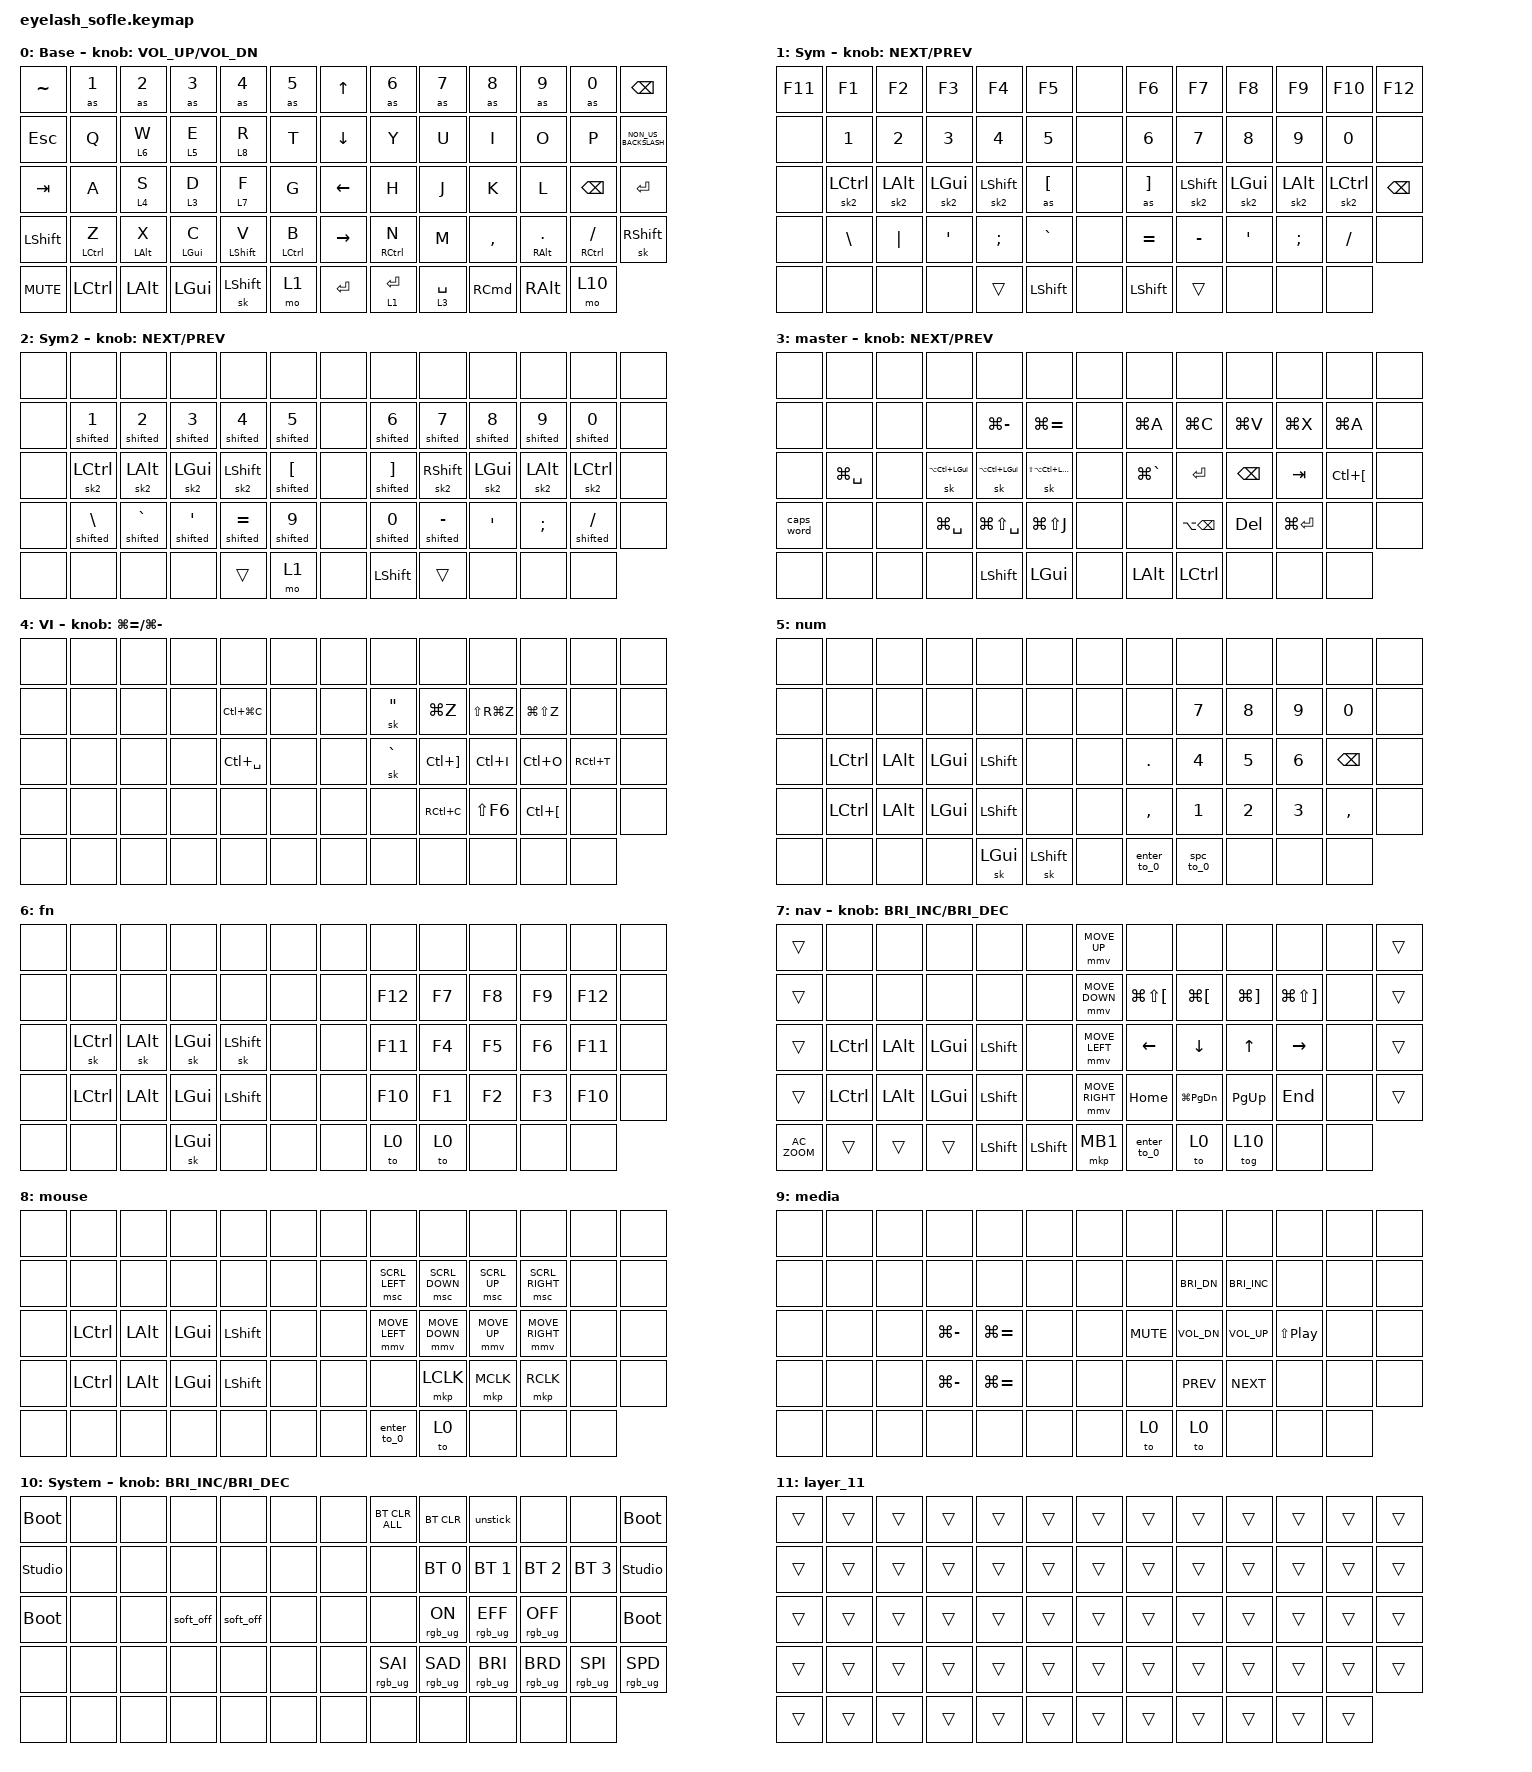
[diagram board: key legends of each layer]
#define ZMK_POINTING_DEFAULT_MOVE_VAL 800 // 600
#define ZMK_POINTING_DEFAULT_SCRL_VAL 25   // 10

#include <input/processors.dtsi>
#include <zephyr/dt-bindings/input/input-event-codes.h>
#include <dt-bindings/zmk/mouse.h>
#include <behaviors.dtsi>
#include <dt-bindings/zmk/bt.h>
#include <dt-bindings/zmk/keys.h>
#include <dt-bindings/zmk/pointing.h>
#include <dt-bindings/zmk/rgb.h>

&mmv_input_listener { input-processors = <&zip_xy_scaler 2 1>; };

&msc_input_listener { input-processors = <&zip_scroll_scaler 2 1>; };

&msc {
    acceleration-exponent = <1>;      // 0
    time-to-max-speed-ms = <70>;       // 300
    delay-ms = <0>;                   // 0
};

&mmv {
    time-to-max-speed-ms = <500>;
    acceleration-exponent = <1>;
    trigger-period-ms = <16>;
};

&soft_off { hold-time-ms = <2000>; };

&sk {
    /delete-property/ ignore-modifiers;

    quick-release;
    lazy;
};

/ {
    scroll_encoder: scroll_encoder {
        compatible = "zmk,behavior-sensor-rotate";
        #sensor-binding-cells = <0>;
        bindings = <&msc SCRL_DOWN>, <&msc SCRL_UP>;

        tap-ms = <100>;
    };

    behaviors {
    };

    combos {
        compatible = "zmk,combos";

        esc {
            bindings = <&as ESCAPE>;
            key-positions = <34 35>;
            require-prior-idle-ms = <150>;
            layers = <0 4 5 8>;
        };

        enter {
            bindings = <&kp ENTER>;
            key-positions = <21 22>;
            timeout-ms = <50>;
            require-prior-idle-ms = <280>;
        };

        tab {
            bindings = <&kp TAB>;
            key-positions = <33 34>;
            timeout-ms = <50>;
            require-prior-idle-ms = <150>;
        };

        reset_0 {
            bindings = <&to 0>;
            key-positions = <14 15 16 17>;
        };

        fn-tog {
            bindings = <&tog 6>;
            key-positions = <16 17 15>;
            require-prior-idle-ms = <280>;
            timeout-ms = <50>;
            layers = <0 6>;
        };

        fn {
            bindings = <&mo 6>;
            key-positions = <16 15>;
            require-prior-idle-ms = <280>;
            timeout-ms = <50>;
        };

        mouse {
            bindings = <&mo 8>;
            key-positions = <42 41>;
            timeout-ms = <50>;
            require-prior-idle-ms = <280>;
            layers = <0>;
        };

        mouse_tog {
            bindings = <&tog 8>;
            key-positions = <18 16 17>;
            timeout-ms = <50>;
            require-prior-idle-ms = <280>;
            layers = <0 8>;
        };

        media {
            bindings = <&mo 9>;
            key-positions = <44 43>;
            timeout-ms = <50>;
            require-prior-idle-ms = <280>;
            layers = <0>;
        };

        nav_tog {
            bindings = <&tog 7>;
            key-positions = <30 31 29>;
            timeout-ms = <50>;
            require-prior-idle-ms = <280>;
            layers = <0 7>;
        };

        num_tog {
            bindings = <&tog 5>;
            key-positions = <44 43 42>;
        };

        ctrlspace {
            bindings = <&kp LC(SPACE)>;
            key-positions = <23 22>;
            require-prior-idle-ms = <350>;
            layers = <0>;
            timeout-ms = <40>;
        };

        brack {
            bindings = <&kp LEFT_BRACKET>;
            key-positions = <33 21>;
        };

        brack2 {
            bindings = <&kp RIGHT_BRACKET>;
            key-positions = <34 22>;
        };
    };

    hml: homerow_mods_left {
        compatible = "zmk,behavior-hold-tap";
        label = "HOMEROW_MODS_LEFT_HAND";
        bindings = <&kp>, <&kp>;

        #binding-cells = <2>;
        hold-trigger-key-positions = <7 8 9 10 11 12 20 21 22 23 24 25 33 34 35 36 37 38 46 47 48 49 50 51 60 61 62 63 59>;
        tapping-term-ms = <350>;
        flavor = "balanced";
        hold-trigger-on-release;
        require-prior-idle-ms = <120>;
    };

    hmr: homerow_mods_right {
        compatible = "zmk,behavior-hold-tap";
        label = "HOMEROW_MODS_RIGHT_HAND";
        bindings = <&kp>, <&kp>;

        #binding-cells = <2>;
        hold-trigger-key-positions = <0 1 2 3 4 5 13 14 15 16 17 18 26 27 28 29 30 31 39 40 41 42 43 44 53 54 55 56 57>;
        tapping-term-ms = <350>;
        flavor = "balanced";
        hold-trigger-on-release;
        require-prior-idle-ms = <120>;
    };

    as_ht: autoshift_hold_tap {
        compatible = "zmk,behavior-hold-tap";
        label = "AUTOSHIFT_HOLD_TAP";
        bindings = <&shifted>, <&kp>;

        #binding-cells = <2>;
        tapping-term-ms = <280>;
        flavor = "tap-preferred";
    };

    tap_left: tap_left {
        compatible = "zmk,behavior-hold-tap";
        label = "TAP_LEFT";
        bindings = <&mo>, <&kp>;

        #binding-cells = <2>;
        hold-trigger-key-positions = <7 8 9 10 11 12 20 21 22 23 24 25 33 34 35 36 37 38 46 47 48 49 50 51 60 61 62 63 59>;
        tapping-term-ms = <280>;
        flavor = "balanced";
        require-prior-idle-ms = <100>;
        hold-trigger-on-release;
    };

    tap_right: tap_right {
        compatible = "zmk,behavior-hold-tap";
        label = "TAP_RIGHT";
        bindings = <&mo>, <&kp>;

        #binding-cells = <2>;
        hold-trigger-key-positions = <0 1 2 3 4 5 13 14 15 16 17 18 26 27 28 29 30 31 39 40 41 42 43 44 53 54 55 56 57>;
        tapping-term-ms = <200>;
        flavor = "balanced";
        require-prior-idle-ms = <100>;
        hold-trigger-on-release;
    };

    master_key: master_key {
        compatible = "zmk,behavior-hold-tap";
        label = "MASTER_KEY";
        bindings = <&mo>, <&kp>;

        #binding-cells = <2>;
        flavor = "balanced";
        tapping-term-ms = <350>;
        hold-trigger-key-positions = <35 36 22 34 48 49 47 21 23 43 42 41 28 29 30 17 16 15 40 14 27 50 37 24 39 26 13 51 38 25>;
        hold-trigger-on-release;
        require-prior-idle-ms = <100>;
    };

    sk2: sk2 {
        compatible = "zmk,behavior-sticky-key";
        label = "SK2";
        bindings = <&kp>;
        #binding-cells = <1>;
        release-after-ms = <1000>;
        quick-release;
        ignore-modifiers;
    };

    strict_tap_left: strict_tap_left {
        compatible = "zmk,behavior-hold-tap";
        label = "STRICT_TAP_LEFT";
        bindings = <&mo>, <&kp>;

        #binding-cells = <2>;
        hold-trigger-key-positions = <7 8 9 10 11 12 20 21 22 23 24 25 33 34 35 36 37 38 46 47 48 49 50 51 60 61 62 63 59>;
        tapping-term-ms = <280>;
        flavor = "balanced";
        require-prior-idle-ms = <150>;
        hold-trigger-on-release;
    };

    macros {
        shifted: shifted {
            compatible = "zmk,behavior-macro-one-param";
            #binding-cells = <1>;
            bindings =
                <&macro_press>,
                <&kp LEFT_SHIFT>,
                <&macro_tap>,
                <&macro_param_1to1 &kp MACRO_PLACEHOLDER>,
                <&macro_release>,
                <&kp LEFT_SHIFT>;

            label = "SHIFTED";
        };

        as: as {
            compatible = "zmk,behavior-macro-one-param";
            #binding-cells = <1>;
            bindings =
                <&macro_press>,
                <&macro_param_1to1 &macro_param_1to2 &as_ht MACRO_PLACEHOLDER MACRO_PLACEHOLDER>,
                <&macro_pause_for_release>,
                <&macro_release>,
                <&macro_param_1to1 &macro_param_1to2 &as_ht MACRO_PLACEHOLDER MACRO_PLACEHOLDER>;

            label = "AS";
        };

        spc_to_0: spc_to_0 {
            compatible = "zmk,behavior-macro";
            #binding-cells = <0>;
            bindings = <&to 0 &kp SPACE>;
            label = "SPC_TO_0";
        };

        enter_to_0: enter_to_0 {
            compatible = "zmk,behavior-macro";
            #binding-cells = <0>;
            bindings = <&to 0 &kp ENTER>;
            label = "ENTER_TO_0";
        };

        unstick: unstick {
            compatible = "zmk,behavior-macro";
            #binding-cells = <0>;
            bindings = <&kp LEFT_SHIFT &kp RIGHT_SHIFT &kp LCTRL &kp RIGHT_CONTROL &kp LALT &kp RALT &kp LGUI &kp RGUI>;
            label = "UNSTICK";
        };

        SHIFT_MCLK: SHIFT_MCLK {
            compatible = "zmk,behavior-macro";
            #binding-cells = <0>;
            bindings =
                <&macro_press>,
                <&kp LEFT_SHIFT>,
                <&macro_press>,
                <&mkp MB3>,
                <&macro_pause_for_release>,
                <&macro_release>,
                <&kp LEFT_SHIFT &mkp MB3>;

            label = "SHIFT_MCLK";
        };
    };

    keymap {
        compatible = "zmk,keymap";

        Base {
            bindings = <
&kp TILDE       &as N1        &as N2                &as N3                &as N4                &as N5          &kp UP_ARROW     &as N6               &as N7               &as N8     &as N9            &as N0            &kp BACKSPACE
&kp ESCAPE      &kp Q         &strict_tap_left 6 W  &strict_tap_left 5 E  &strict_tap_left 8 R  &kp T           &kp DOWN_ARROW   &kp Y                &kp U                &kp I      &kp O             &kp P             &kp NON_US_BACKSLASH
&kp TAB         &kp A         &tap_left 4 S         &tap_left 3 D         &tap_left 7 F         &kp G           &kp LEFT_ARROW   &kp H                &kp J                &kp K      &kp L             &kp BACKSPACE     &kp ENTER
&kp LEFT_SHIFT  &hml LCTRL Z  &hml LALT X           &hml LGUI C           &hml LSHIFT V         &hml LCTRL B    &kp RIGHT_ARROW  &hmr RCTRL N         &kp M                &kp COMMA  &hmr RALT PERIOD  &hmr RCTRL SLASH  &sk RIGHT_SHIFT
&kp C_MUTE      &kp LCTRL     &kp LALT              &kp LGUI              &sk LSHFT             &mo 1           &kp ENTER        &master_key 1 ENTER  &master_key 3 SPACE  &kp RCMD   &kp RALT          &mo 10
            >;

            sensor-bindings = <&inc_dec_kp C_VOLUME_UP C_VOL_DN>;
            display-name = "Base";
        };

        Sym {
            bindings = <
&kp F11  &kp F1      &kp F2     &kp F3     &kp F4         &kp F5              &none  &kp F6             &kp F7      &kp F8     &kp F9     &kp F10     &kp F12
&none    &kp N1      &kp N2     &kp N3     &kp N4         &kp N5              &none  &kp N6             &kp N7      &kp N8     &kp N9     &kp N0      &none
&none    &sk2 LCTRL  &sk2 LALT  &sk2 LGUI  &sk2 LSHFT     &as LEFT_BRACKET    &none  &as RIGHT_BRACKET  &sk2 LSHFT  &sk2 LGUI  &sk2 LALT  &sk2 LCTRL  &kp BACKSPACE
&none    &kp BSLH    &kp PIPE   &kp APOS   &kp SEMICOLON  &kp GRAVE           &none  &kp EQUAL          &kp MINUS   &kp SQT    &kp SEMI   &kp SLASH   &none
&none    &none       &none      &none      &trans         &kp LEFT_SHIFT      &none  &kp LEFT_SHIFT     &trans      &none      &none      &none
            >;

            sensor-bindings = <&inc_dec_kp C_NEXT C_PREV>;
            label = "Sym";
        };

        ShiftSym {
            bindings = <
&none  &none          &none           &none          &none           &none            &none  &none           &none           &none        &none        &none           &none
&none  &shifted N1    &shifted N2     &shifted N3    &shifted N4     &shifted N5      &none  &shifted N6     &shifted N7     &shifted N8  &shifted N9  &shifted N0     &none
&none  &sk2 LCTRL     &sk2 LALT       &sk2 LGUI      &sk2 LSHFT      &shifted LBKT    &none  &shifted RBKT   &sk2 RSHFT      &sk2 LGUI    &sk2 LALT    &sk2 LCTRL      &none
&none  &shifted BSLH  &shifted GRAVE  &shifted APOS  &shifted EQUAL  &shifted N9      &none  &shifted N0     &shifted MINUS  &kp SQT      &kp SEMI     &shifted SLASH  &none
&none  &none          &none           &none          &trans          &mo 1            &none  &kp LEFT_SHIFT  &trans          &none        &none        &none
            >;

            sensor-bindings = <&inc_dec_kp C_NEXT C_PREV>;
            label = "Sym2";
        };

        Master {
            bindings = <
&none       &none          &none  &none                 &none                 &none                   &none  &none          &none              &none          &none          &none                 &none
&none       &none          &none  &none                 &kp LG(MINUS)         &kp LG(EQUAL)           &none  &kp LG(A)      &kp LG(C)          &kp LG(V)      &kp LG(X)      &kp LG(A)             &none
&none       &kp LG(SPACE)  &none  &sk LA(LC(LEFT_GUI))  &sk LA(LC(LEFT_GUI))  &sk LS(LA(LC(LGUI)))    &none  &kp LG(GRAVE)  &kp ENTER          &kp BACKSPACE  &kp TAB        &kp LC(LEFT_BRACKET)  &none
&caps_word  &none          &none  &kp LG(SPACE)         &kp LG(LS(SPACE))     &kp LG(LS(J))           &none  &none          &kp LA(BACKSPACE)  &kp DELETE     &kp LG(ENTER)  &none                 &none
&none       &none          &none  &none                 &kp LEFT_SHIFT        &kp LEFT_GUI            &none  &kp LALT       &kp LCTRL          &none          &none          &none
            >;

            sensor-bindings = <&inc_dec_kp C_NEXT C_PREV>;
            label = "master";
        };

        Vi {
            bindings = <
&none  &none  &none  &none  &none          &none    &none  &none              &none                  &none          &none                 &none      &none
&none  &none  &none  &none  &kp LC(LG(C))  &none    &none  &sk DOUBLE_QUOTES  &kp LG(Z)              &kp LS(RG(Z))  &kp LG(LS(Z))         &none      &none
&none  &none  &none  &none  &kp LC(SPACE)  &none    &none  &sk GRAVE          &kp LC(RIGHT_BRACKET)  &kp LC(I)      &kp LC(O)             &kp RC(T)  &none
&none  &none  &none  &none  &none          &none    &none  &none              &kp RC(C)              &kp LS(F6)     &kp LC(LEFT_BRACKET)  &none      &none
&none  &none  &none  &none  &none          &none    &none  &none              &none                  &none          &none                 &none
            >;

            sensor-bindings = <&inc_dec_kp LG(EQUAL) LG(MINUS)>;
            label = "VI";
        };

        Num {
            bindings = <
&none  &none      &none     &none     &none         &none             &none  &none        &none      &none   &none   &none          &none
&none  &none      &none     &none     &none         &none             &none  &none        &kp N7     &kp N8  &kp N9  &kp N0         &none
&none  &kp LCTRL  &kp LALT  &kp LGUI  &kp LSHFT     &none             &none  &kp DOT      &kp N4     &kp N5  &kp N6  &kp BACKSPACE  &none
&none  &kp LCTRL  &kp LALT  &kp LGUI  &kp LSHFT     &none             &none  &kp COMMA    &kp N1     &kp N2  &kp N3  &kp COMMA      &none
&none  &none      &none     &none     &sk LEFT_GUI  &sk LEFT_SHIFT    &none  &enter_to_0  &spc_to_0  &none   &none   &none
            >;

            label = "num";
        };

        FN {
            bindings = <
&none  &none      &none     &none     &none      &none    &none  &none    &none   &none   &none   &none    &none
&none  &none      &none     &none     &none      &none    &none  &kp F12  &kp F7  &kp F8  &kp F9  &kp F12  &none
&none  &sk LCTRL  &sk LALT  &sk LGUI  &sk LSHFT  &none    &none  &kp F11  &kp F4  &kp F5  &kp F6  &kp F11  &none
&none  &kp LCTRL  &kp LALT  &kp LGUI  &kp LSHFT  &none    &none  &kp F10  &kp F1  &kp F2  &kp F3  &kp F10  &none
&none  &none      &none     &sk LGUI  &none      &none    &none  &to 0    &to 0   &none   &none   &none
            >;

            label = "fn";
        };

        Nav {
            bindings = <
&trans         &none      &none     &none     &none           &none             &mmv MOVE_UP     &none                     &none                 &none                  &none                      &none  &trans
&trans         &none      &none     &none     &none           &none             &mmv MOVE_DOWN   &kp LG(LS(LEFT_BRACKET))  &kp LG(LEFT_BRACKET)  &kp LG(RIGHT_BRACKET)  &kp LG(LS(RIGHT_BRACKET))  &none  &trans
&trans         &kp LCTRL  &kp LALT  &kp LGUI  &kp LEFT_SHIFT  &none             &mmv MOVE_LEFT   &kp LEFT                  &kp DOWN              &kp UP                 &kp RIGHT                  &none  &trans
&trans         &kp LCTRL  &kp LALT  &kp LGUI  &kp LSHFT       &none             &mmv MOVE_RIGHT  &kp HOME                  &kp LG(PG_DN)         &kp PG_UP              &kp END                    &none  &trans
&kp C_AC_ZOOM  &trans     &trans    &trans    &kp LEFT_SHIFT  &kp LEFT_SHIFT    &mkp MB1         &enter_to_0               &to 0                 &tog 10                &none                      &none
            >;

            sensor-bindings = <&inc_dec_kp C_BRIGHTNESS_INC C_BRIGHTNESS_DEC>;
            label = "nav";
        };

        Mouse {
            bindings = <
&none  &none      &none     &none     &none      &none    &none  &none           &none           &none         &none            &none  &none
&none  &none      &none     &none     &none      &none    &none  &msc SCRL_LEFT  &msc SCRL_DOWN  &msc SCRL_UP  &msc SCRL_RIGHT  &none  &none
&none  &kp LCTRL  &kp LALT  &kp LGUI  &kp LSHFT  &none    &none  &mmv MOVE_LEFT  &mmv MOVE_DOWN  &mmv MOVE_UP  &mmv MOVE_RIGHT  &none  &none
&none  &kp LCTRL  &kp LALT  &kp LGUI  &kp LSHFT  &none    &none  &none           &mkp LCLK       &mkp MCLK     &mkp RCLK        &none  &none
&none  &none      &none     &none     &none      &none    &none  &enter_to_0     &to 0           &none         &none            &none
            >;

            label = "mouse";
        };

        Media {
            bindings = <
&none  &none  &none  &none          &none          &none    &none  &none       &none         &none                 &none         &none  &none
&none  &none  &none  &none          &none          &none    &none  &none       &kp C_BRI_DN  &kp C_BRIGHTNESS_INC  &none         &none  &none
&none  &none  &none  &kp LG(MINUS)  &kp LG(EQUAL)  &none    &none  &kp C_MUTE  &kp C_VOL_DN  &kp C_VOLUME_UP       &kp LS(C_PP)  &none  &none
&none  &none  &none  &kp LG(MINUS)  &kp LG(EQUAL)  &none    &none  &none       &kp C_PREV    &kp C_NEXT            &none         &none  &none
&none  &none  &none  &none          &none          &none    &none  &to 0       &to 0         &none                 &none         &none
            >;

            label = "media";
        };

        System {
            bindings = <
&bootloader     &none  &none  &none      &none      &none    &none  &bt BT_CLR_ALL   &bt BT_CLR       &unstick         &none            &none            &bootloader
&studio_unlock  &none  &none  &none      &none      &none    &none  &none            &bt BT_SEL 0     &bt BT_SEL 1     &bt BT_SEL 2     &bt BT_SEL 3     &studio_unlock
&bootloader     &none  &none  &soft_off  &soft_off  &none    &none  &none            &rgb_ug RGB_ON   &rgb_ug RGB_EFF  &rgb_ug RGB_OFF  &none            &bootloader
&none           &none  &none  &none      &none      &none    &none  &rgb_ug RGB_SAI  &rgb_ug RGB_SAD  &rgb_ug RGB_BRI  &rgb_ug RGB_BRD  &rgb_ug RGB_SPI  &rgb_ug RGB_SPD
&none           &none  &none  &none      &none      &none    &none  &none            &none            &none            &none            &none
            >;

            label = "System";
            sensor-bindings = <&inc_dec_kp C_BRIGHTNESS_INC C_BRIGHTNESS_DEC>;
        };

        layer_11 {
            bindings = <
&trans  &trans  &trans  &trans  &trans  &trans    &trans  &trans  &trans  &trans  &trans  &trans  &trans
&trans  &trans  &trans  &trans  &trans  &trans    &trans  &trans  &trans  &trans  &trans  &trans  &trans
&trans  &trans  &trans  &trans  &trans  &trans    &trans  &trans  &trans  &trans  &trans  &trans  &trans
&trans  &trans  &trans  &trans  &trans  &trans    &trans  &trans  &trans  &trans  &trans  &trans  &trans
&trans  &trans  &trans  &trans  &trans  &trans    &trans  &trans  &trans  &trans  &trans  &trans
            >;
        };
    };

    conditional_layers { compatible = "zmk,conditional-layers"; };
};
